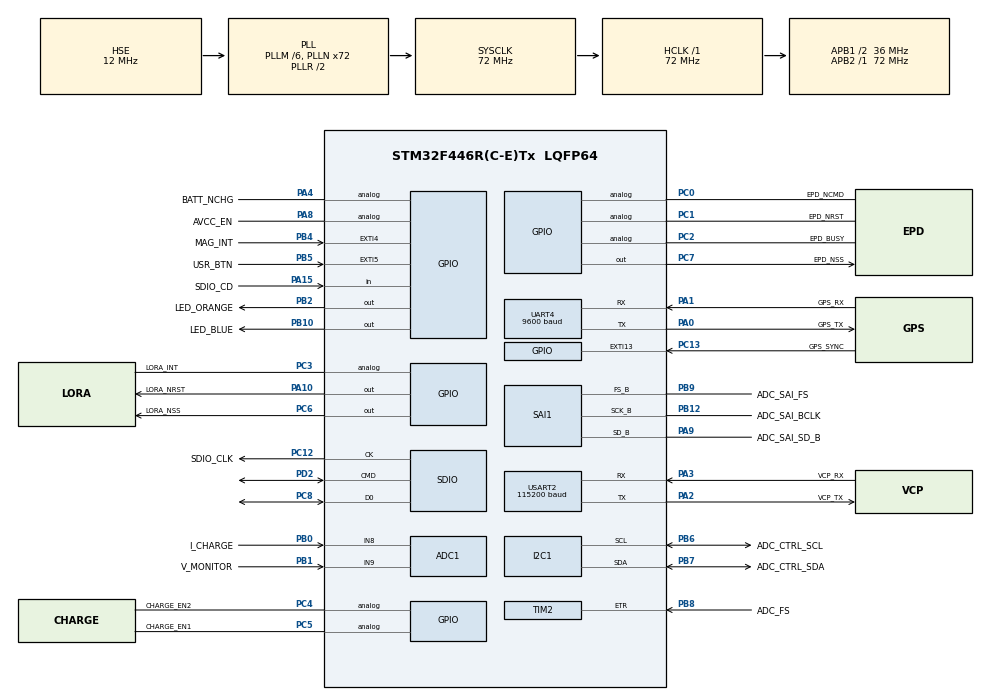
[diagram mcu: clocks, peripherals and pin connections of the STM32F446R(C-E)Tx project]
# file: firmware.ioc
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ADC1.Channel-0\#ChannelRegularConversion=ADC_CHANNEL_9
ADC1.ClockPrescaler=ADC_CLOCK_SYNC_PCLK_DIV8
ADC1.ContinuousConvMode=DISABLE
ADC1.EnableAnalogWatchDog=true
ADC1.HighThreshold=2700
ADC1.ITMode=ENABLE
ADC1.LowThreshold=2300
ADC1.NbrOfConversion=1
ADC1.NbrOfConversionFlag=1
ADC1.Rank-0\#ChannelRegularConversion=1
ADC1.SamplingTime-0\#ChannelRegularConversion=ADC_SAMPLETIME_480CYCLES
ADC1.ScanConvMode=DISABLE
ADC1.WatchdogChannel=ADC_CHANNEL_9
ADC1.master=1
Dma.Request0=USART2_RX
Dma.Request1=UART4_RX
Dma.Request2=SAI1_B
Dma.SAI1_B.2.Direction=DMA_PERIPH_TO_MEMORY
Dma.SAI1_B.2.FIFOMode=DMA_FIFOMODE_ENABLE
Dma.SAI1_B.2.FIFOThreshold=DMA_FIFO_THRESHOLD_HALFFULL
Dma.SAI1_B.2.Instance=DMA2_Stream4
Dma.SAI1_B.2.MemBurst=DMA_MBURST_SINGLE
Dma.SAI1_B.2.MemDataAlignment=DMA_MDATAALIGN_WORD
Dma.SAI1_B.2.MemInc=DMA_MINC_ENABLE
Dma.SAI1_B.2.Mode=DMA_CIRCULAR
Dma.SAI1_B.2.PeriphBurst=DMA_PBURST_SINGLE
Dma.SAI1_B.2.PeriphDataAlignment=DMA_PDATAALIGN_WORD
Dma.SAI1_B.2.PeriphInc=DMA_PINC_DISABLE
Dma.SAI1_B.2.Priority=DMA_PRIORITY_VERY_HIGH
Dma.UART4_RX.1.Direction=DMA_PERIPH_TO_MEMORY
Dma.UART4_RX.1.FIFOMode=DMA_FIFOMODE_DISABLE
Dma.UART4_RX.1.Instance=DMA1_Stream2
Dma.UART4_RX.1.MemDataAlignment=DMA_MDATAALIGN_BYTE
Dma.UART4_RX.1.MemInc=DMA_MINC_ENABLE
Dma.UART4_RX.1.Mode=DMA_CIRCULAR
Dma.UART4_RX.1.PeriphDataAlignment=DMA_PDATAALIGN_BYTE
Dma.UART4_RX.1.PeriphInc=DMA_PINC_DISABLE
Dma.UART4_RX.1.Priority=DMA_PRIORITY_HIGH
Dma.USART2_RX.0.Direction=DMA_PERIPH_TO_MEMORY
Dma.USART2_RX.0.FIFOMode=DMA_FIFOMODE_DISABLE
Dma.USART2_RX.0.Instance=DMA1_Stream5
Dma.USART2_RX.0.MemDataAlignment=DMA_MDATAALIGN_BYTE
Dma.USART2_RX.0.MemInc=DMA_MINC_ENABLE
Dma.USART2_RX.0.Mode=DMA_CIRCULAR
Dma.USART2_RX.0.PeriphDataAlignment=DMA_PDATAALIGN_BYTE
Dma.USART2_RX.0.PeriphInc=DMA_PINC_DISABLE
Dma.USART2_RX.0.Priority=DMA_PRIORITY_LOW
FATFS.BSP.number=1
FATFS.USE_DMA_CODE_SD=0
FATFS._FS_LOCK=4
FATFS._FS_RPATH=1
FATFS._FS_TIMEOUT=80
FATFS._MAX_SS=512
FATFS._USE_EXPAND=1
FATFS._USE_MKFS=0
FATFS._USE_TRIM=1
FATFS0.BSP.STBoard=false
FATFS0.BSP.api=Unknown
FATFS0.BSP.instance=PA15
FATFS0.BSP.ip=GPIO
FATFS0.BSP.mode=Input
FATFS0.BSP.name=Detect_SDIO
FATFS0.BSP.solution=PA15
IWDG.Prescaler=IWDG_PRESCALER_256
IWDG.Reload=4095
Mcu.Family=STM32F4
Mcu.Name=STM32F446R(C-E)Tx
Mcu.Package=LQFP64
NVIC.ADC_IRQn=true\:3\:3\:true\:false\:true\:true\:true\:true
NVIC.DMA1_Stream2_IRQn=true\:1\:3\:true\:false\:true\:false\:true\:true
NVIC.DMA1_Stream5_IRQn=true\:3\:1\:true\:false\:true\:false\:true\:true
NVIC.DMA2_Stream4_IRQn=true\:0\:2\:false\:false\:true\:false\:true\:true
NVIC.EXTI15_10_IRQn=true\:0\:1\:false\:false\:true\:true\:true\:true
NVIC.PriorityGroup=NVIC_PRIORITYGROUP_2
NVIC.SAI1_IRQn=true\:0\:2\:false\:false\:true\:true\:true\:true
NVIC.SDIO_IRQn=true\:1\:0\:true\:false\:true\:true\:true\:true
NVIC.TIM1_UP_TIM10_IRQn=true\:3\:2\:true\:false\:true\:true\:true\:true
PA0-WKUP.GPIO_Label=GPS_TX
PA0-WKUP.Mode=Asynchronous
PA0-WKUP.Signal=UART4_TX
PA1.GPIO_Label=GPS_RX
PA1.Mode=Asynchronous
PA1.Signal=UART4_RX
PA10.GPIO_Label=LORA_NRST
PA10.Signal=GPIO_Output
PA11.GPIO_Label=USB_DN
PA11.Signal=USB_OTG_FS_DM
PA12.GPIO_Label=USB_DP
PA12.Signal=USB_OTG_FS_DP
PA13.GPIO_Label=SWDIO
PA13.Mode=Trace_Asynchronous_SW
PA13.Signal=SYS_JTMS-SWDIO
PA14.GPIO_Label=SWCLK
PA14.Mode=Trace_Asynchronous_SW
PA14.Signal=SYS_JTCK-SWCLK
PA15.GPIO_Label=SDIO_CD
PA15.Signal=GPIO_Input
PA2.GPIO_Label=VCP_TX
PA2.Mode=Asynchronous
PA2.Signal=USART2_TX
PA3.GPIO_Label=VCP_RX
PA3.Mode=Asynchronous
PA3.Signal=USART2_RX
PA4.GPIO_Label=BATT_NCHG
PA4.Signal=GPIO_Analog
PA5.GPIO_Label=SRAM_SCK
PA5.Signal=SPI1_SCK
PA6.GPIO_Label=SRAM_MISO
PA6.Signal=SPI1_MISO
PA7.GPIO_Label=SRAM_MOSI
PA7.Signal=SPI1_MOSI
PA8.GPIO_Label=AVCC_EN
PA8.Signal=GPIO_Analog
PA9.GPIO_Label=ADC_SAI_SD_B
PA9.GPIO_PuPd=GPIO_PULLDOWN
PA9.Mode=SAI_B_AsyncSlave
PA9.Signal=SAI1_SD_B
PB0.GPIO_Label=I_CHARGE
PB0.Signal=ADCx_IN8
PB1.GPIO_Label=V_MONITOR
PB1.Signal=ADCx_IN9
PB10.GPIO_Label=LED_BLUE
PB10.GPIO_ModeDefaultOutputPP=GPIO_MODE_OUTPUT_OD
PB10.GPIO_PuPd=GPIO_PULLUP
PB10.PinState=GPIO_PIN_RESET
PB10.Signal=GPIO_Output
PB12.GPIO_Label=ADC_SAI_BCLK
PB12.GPIO_PuPd=GPIO_PULLDOWN
PB12.Mode=SAI_B_AsyncSlave
PB12.Signal=SAI1_SCK_B
PB13.GPIO_Label=CONN_SCK
PB13.Signal=SPI2_SCK
PB14.GPIO_Label=CONN_MISO
PB14.Signal=SPI2_MISO
PB15.GPIO_Label=CONN_MOSI
PB15.Signal=SPI2_MOSI
PB2.GPIO_Label=LED_ORANGE
PB2.GPIO_ModeDefaultOutputPP=GPIO_MODE_OUTPUT_OD
PB2.GPIO_PuPd=GPIO_PULLUP
PB2.PinState=GPIO_PIN_RESET
PB2.Signal=GPIO_Output
PB3.GPIO_Label=SWO
PB3.Mode=Trace_Asynchronous_SW
PB3.Signal=SYS_JTDO-SWO
PB4.GPIO_Label=MAG_INT
PB4.Signal=GPXTI4
PB5.GPIO_Label=USR_BTN
PB5.GPIO_PuPd=GPIO_PULLDOWN
PB5.Signal=GPXTI5
PB6.GPIO_Label=ADC_CTRL_SCL
PB6.GPIO_Pu=GPIO_PULLUP
PB6.GPIO_Speed=GPIO_SPEED_FREQ_HIGH
PB6.Mode=I2C
PB6.Signal=I2C1_SCL
PB7.GPIO_Label=ADC_CTRL_SDA
PB7.GPIO_Pu=GPIO_PULLUP
PB7.GPIO_Speed=GPIO_SPEED_FREQ_HIGH
PB7.Mode=I2C
PB7.Signal=I2C1_SDA
PB8.GPIO_Label=ADC_FS
PB8.Signal=S_TIM2_CH1_ETR
PB9.GPIO_Label=ADC_SAI_FS
PB9.GPIO_PuPd=GPIO_PULLDOWN
PB9.Mode=SAI_B_AsyncSlave
PB9.Signal=SAI1_FS_B
PC0.GPIO_Label=EPD_NCMD
PC0.Signal=GPIO_Analog
PC1.GPIO_Label=EPD_NRST
PC1.Signal=GPIO_Analog
PC10.GPIO_PuPd=GPIO_PULLUP
PC10.Signal=SDIO_D2
PC11.GPIO_PuPd=GPIO_PULLUP
PC11.Signal=SDIO_D3
PC12.GPIO_Label=SDIO_CLK
PC12.GPIO_PuPd=GPIO_NOPULL
PC12.Mode=SD_1_bit
PC12.Signal=SDIO_CK
PC13.GPIO_Label=GPS_SYNC
PC13.GPIO_ModeDefaultEXTI=GPIO_MODE_IT_RISING_FALLING
PC13.GPIO_PuPd=GPIO_PULLDOWN
PC13.Signal=GPXTI13
PC14-OSC32_IN.GPIO_Label=OSC_LSE_IN
PC14-OSC32_IN.Mode=LSE-External-Oscillator
PC14-OSC32_IN.Signal=RCC_OSC32_IN
PC15-OSC32_OUT.GPIO_Label=OSC_LSE_OUT
PC15-OSC32_OUT.Mode=LSE-External-Oscillator
PC15-OSC32_OUT.Signal=RCC_OSC32_OUT
PC2.GPIO_Label=EPD_BUSY
PC2.Signal=GPIO_Analog
PC3.GPIO_Label=LORA_INT
PC3.Signal=GPIO_Analog
PC4.GPIO_Label=CHARGE_EN2
PC4.Signal=GPIO_Analog
PC5.GPIO_Label=CHARGE_EN1
PC5.Signal=GPIO_Analog
PC6.GPIO_Label=LORA_NSS
PC6.GPIO_PuPd=GPIO_PULLDOWN
PC6.Signal=GPIO_Output
PC7.GPIO_Label=EPD_NSS
PC7.GPIO_PuPd=GPIO_PULLDOWN
PC7.Signal=GPIO_Output
PC8.GPIO_PuPd=GPIO_PULLUP
PC8.Mode=SD_1_bit
PC8.Signal=SDIO_D0
PC9.GPIO_PuPd=GPIO_PULLUP
PC9.Signal=SDIO_D1
PD2.GPIO_PuPd=GPIO_PULLUP
PD2.Mode=SD_1_bit
PD2.Signal=SDIO_CMD
PH0-OSC_IN.GPIO_Label=OSC_HSE_IN
PH0-OSC_IN.Mode=HSE-External-Oscillator
PH0-OSC_IN.Signal=RCC_OSC_IN
PH1-OSC_OUT.GPIO_Label=OSC_HSE_OUT
PH1-OSC_OUT.Mode=HSE-External-Oscillator
PH1-OSC_OUT.Signal=RCC_OSC_OUT
ProjectManager.HeapSize=0x11000
ProjectManager.StackSize=0x8000
ProjectManager.TargetToolchain=STM32CubeIDE
RCC.AHBFreq_Value=72000000
RCC.APB1CLKDivider=RCC_HCLK_DIV2
RCC.APB1Freq_Value=36000000
RCC.APB1TimFreq_Value=72000000
RCC.APB2Freq_Value=72000000
RCC.APB2TimFreq_Value=72000000
RCC.CortexFreq_Value=72000000
RCC.HCLKFreq_Value=72000000
RCC.HSE_VALUE=12000000
RCC.PLLI2SM=8
RCC.PLLI2SN=50
RCC.PLLM=6
RCC.PLLN=72
RCC.PLLP=RCC_PLLP_DIV6
RCC.PLLQ=3
RCC.PLLSAIM=6
RCC.PLLSAIN=50
RCC.PLLSourceVirtual=RCC_PLLSOURCE_HSE
RCC.PWREXT_OverDrive=PWREXT_OverDrive_ACTIVATED
RCC.RCC_RTC_Clock_SourceVirtual=RCC_RTCCLKSOURCE_LSE
RCC.SYSCLKFreq_VALUE=72000000
RCC.SYSCLKSource=RCC_SYSCLKSOURCE_PLLRCLK
RCC.USBFreq_Value=48000000
RCC.VCOOutputFreq_Value=144000000
SAI1.DataSize-SAI_B_AsyncSlave=SAI_DATASIZE_24
SAI1.FIFOThreshold-SAI_B_AsyncSlave=SAI_FIFOTHRESHOLD_HF
SAI1.FirstBit-SAI_B_AsyncSlave=SAI_FIRSTBIT_MSB
SAI1.FirstBitOffset-SAI_B_AsyncSlave=0
SAI1.FrameLength-SAI_B_AsyncSlave=128
SAI1.Instance-SAI_B_AsyncSlave=SAI$Index_Block_B
SAI1.SlotActive-SAI_B_AsyncSlave=0x00000003
SAI1.SlotNumber-SAI_B_AsyncSlave=4
SAI1.SlotSize-SAI_B_AsyncSlave=SAI_SLOTSIZE_32B
SAI1.TriState-SAI_B_AsyncSlave=SAI_OUTPUT_NOTRELEASED
SAI1.VirtualMode-SAI_B_AsyncSlave=VM_SLAVE
SAI1.VirtualSlotActive-SAI_B_AsyncSlave=SAI_SLOT_USERSETTING
SAI1.VirtualSlotActive0-SAI_B_AsyncSlave=true
SAI1.VirtualSlotActive1-SAI_B_AsyncSlave=true
SAI1.VirtualSlotActive2-SAI_B_AsyncSlave=false
SAI1.VirtualSlotActive3-SAI_B_AsyncSlave=false
SDIO.ClockBypass=SDIO_CLOCK_BYPASS_DISABLE
SDIO.ClockDiv=6
SDIO.ClockPowerSave=SDIO_CLOCK_POWER_SAVE_ENABLE
SDIO.HardwareFlowControl=SDIO_HARDWARE_FLOW_CONTROL_ENABLE
SH.ADCx_IN8.0=ADC1_IN8,IN8
SH.ADCx_IN9.0=ADC1_IN9,IN9
SH.S_TIM2_CH1_ETR.0=TIM2_ETR,ClockSourceETR_Mode2
TIM10.ClockDivision=TIM_CLOCKDIVISION_DIV4
TIM10.Period=39999
TIM10.Prescaler=35999
TIM3.AutoReloadPreload=TIM_AUTORELOAD_PRELOAD_DISABLE
TIM3.ClockDivision=TIM_CLOCKDIVISION_DIV4
TIM3.Period=1000
TIM3.Prescaler=18000
TIM3.TIM_MasterOutputTrigger=TIM_TRGO_RESET
UART4.BaudRate=9600
UART4.VirtualMode=Asynchronous
USART2.BaudRate=115200
USART2.VirtualMode=VM_ASYNC
VP_CRC_VS_CRC.Mode=CRC_Activate
VP_FATFS_VS_SDIO.Mode=SDIO
VP_IWDG_VS_IWDG.Mode=IWDG_Activate
VP_RTC_VS_RTC_Activate.Mode=RTC_Enabled
VP_RTC_VS_RTC_Calendar.Mode=RTC_Calendar
VP_TIM10_VS_ClockSourceINT.Mode=Enable_Timer
VP_TIM3_VS_ClockSourceINT.Mode=Internal
board=custom

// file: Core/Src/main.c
/* USER CODE BEGIN Header */
/**
  ******************************************************************************
  * @file           : main.c
  * @brief          : Main program body
  ******************************************************************************
  * @attention
  *
  * <h2><center>&copy; Copyright (c) 2020 STMicroelectronics.
  * All rights reserved.</center></h2>
  *
  * This software component is licensed by ST under BSD 3-Clause license,
  * the "License"; You may not use this file except in compliance with the
  * License. You may obtain a copy of the License at:
  *                        opensource.org/licenses/BSD-3-Clause
  *
  ******************************************************************************
  */
/* USER CODE END Header */
#include "main.h"
#include "fatfs.h"

/* USER CODE BEGIN Includes */
#include "config.h"
#include "tty.h"
#include "logger.h"
#include "gps.h"
#include "adc.h"
#include "timestamp.h"
#include "perf.h"
#include "led.h"
/* USER CODE END Includes */

/* USER CODE BEGIN PM */
#define WAIT(__base2_Hz__) ({for(uint32_t i = 0; i < (HAL_RCC_GetHCLKFreq() >> (__base2_Hz__)); i++) __NOP();})
/* USER CODE END PM */

ADC_HandleTypeDef hadc1;

CRC_HandleTypeDef hcrc;

I2C_HandleTypeDef hi2c1;

IWDG_HandleTypeDef hiwdg;

RTC_HandleTypeDef hrtc;

SAI_HandleTypeDef hsai_BlockB1;
DMA_HandleTypeDef hdma_sai1_b;

SD_HandleTypeDef hsd;

TIM_HandleTypeDef htim2;
TIM_HandleTypeDef htim3;
TIM_HandleTypeDef htim10;

UART_HandleTypeDef huart4;
UART_HandleTypeDef huart2;
DMA_HandleTypeDef hdma_uart4_rx;
DMA_HandleTypeDef hdma_usart2_rx;

/* USER CODE BEGIN PV */
uint32_t KLEINVOET_UUID = 0xDEADBEEFU;
int ready = 0;
// TODO: Just a quick fix
static int flushLog = 0;
static volatile uint32_t wavWriteHeaderFlag = 0;
static int adcSyncWrite = 0;
/* USER CODE END PV */

void SystemClock_Config(void);
static void MX_GPIO_Init(void);
static void MX_DMA_Init(void);
static void MX_USART2_UART_Init(void);
static void MX_CRC_Init(void);
static void MX_SDIO_SD_Init(void);
static void MX_RTC_Init(void);
static void MX_UART4_Init(void);
static void MX_IWDG_Init(void);
static void MX_TIM10_Init(void);
static void MX_I2C1_Init(void);
static void MX_SAI1_Init(void);
static void MX_TIM2_Init(void);
static void MX_ADC1_Init(void);
static void MX_TIM3_Init(void);

int main(void)
{

  /* MCU Configuration--------------------------------------------------------*/

  /* Reset of all peripherals, Initializes the Flash interface and the Systick. */
  HAL_Init();

  /* Configure the system clock */
  SystemClock_Config();

  /* Initialize all configured peripherals */
  MX_GPIO_Init();
  MX_DMA_Init();
  MX_USART2_UART_Init();
  MX_CRC_Init();
  MX_SDIO_SD_Init();
  MX_FATFS_Init();
  MX_RTC_Init();
  MX_UART4_Init();
  MX_IWDG_Init();
  MX_TIM10_Init();
  MX_I2C1_Init();
  MX_SAI1_Init();
  MX_TIM2_Init();
  MX_ADC1_Init();
  MX_TIM3_Init();
  /* USER CODE BEGIN 2 */
//  LED_ORANGE_START_BLINK();
  LED_ORANGE_SET_LOW();
  LED_BLUE_SET_LOW();
  // Give time for RTC to init properly
  HAL_RTC_WaitForSynchro(&hrtc);
  // Calculate UUID
  KLEINVOET_UUID = HAL_CRC_Calculate(&hcrc, STM32_UUID, 3);
  if (TTY_init(&huart2) <= 0) Error_Handler();
  if (FATFS_mount() <= 0) Error_Handler();

#ifdef DEBUG
  WARN("Running with DEBUG flag enabled");
#endif
  // Test Logging
  // TODO: Rather log actual level
  // logging error causes SD card to flush this results in watchdog timeout
  HAL_IWDG_Refresh(&hiwdg);
  DBUG("Hello, World.");
  INFO("Hello, World!");
  WARN("HELLO, World!");
  ERR("HELLO, WORLD!");
  LED_ORANGE_TOGGLE();

  // TODO: move to global state machine class once it exists
  INFO("VERSION: " KV_VERSION);
  INFO("AUTHORS: " AUTHORS);
  INFO("UUID: 0x%08lX (%08lX-%08lX-%08lX)", KLEINVOET_UUID, STM32_UUID[0], STM32_UUID[1], STM32_UUID[2]);
  INFO("Core Freq: %luHz", HAL_RCC_GetHCLKFreq());

  INFO("Waiting for GPS to finish starting up..");
  HAL_Delay(1500);
  LED_ORANGE_TOGGLE();
  INFO("Done waiting for GPS");
  HAL_IWDG_Refresh(&hiwdg);
  if (GPS_init(&huart4) <= 0) Error_Handler();
  if (ADC_init(&hi2c1, &hsai_BlockB1, &htim2) <= 0) Error_Handler();
  if (TIME_init(&htim2) <= 0) Error_Handler();

  // Change watch dog timeout from ~32 sec to ~4
  hiwdg.Init.Prescaler = IWDG_PRESCALER_32;
  if (HAL_IWDG_Init(&hiwdg) != HAL_OK) Error_Handler();

  // Enable FS flush timer
  HAL_TIM_Base_Start_IT(&htim10);
  ready = 1;
  /* USER CODE END 2 */

  /* Infinite loop */
  /* USER CODE BEGIN WHILE */
  if(ADC_setState(ADC_REC) <= 0) Error_Handler();
  HAL_ADC_Start(&hadc1);

  // Store logs
  LOG_flush();
  wavWriteHeaderFlag = 0;
//  LED_ORANGE_STOP_BLINK();
#pragma clang diagnostic push
#pragma ide diagnostic ignored "EndlessLoop"
  while (1) {
    // Kick watchdog
    HAL_IWDG_Refresh(&hiwdg);
    PERF_START("ADC_yield");
    PERF_THRESHOLD(100);
    ADC_yield(&adcSyncWrite);
    PERF_END("ADC_yield");
    TTY_yield();
    GPS_yield();
    TIME_yield();

    if(flushLog) {
      LOG_flush();
      flushLog = 0;
    }

#ifndef WAVE_MOCK_WRITES
    if(wavWriteHeaderFlag) {
      ADC_WAVE_writeHeader();
      wavWriteHeaderFlag = 0;
    }
#endif

    /* USER CODE END WHILE */

    /* USER CODE BEGIN 3 */
  }
#pragma clang diagnostic pop
  /* USER CODE END 3 */
}

void SystemClock_Config(void)
{
  RCC_OscInitTypeDef RCC_OscInitStruct = {0};
  RCC_ClkInitTypeDef RCC_ClkInitStruct = {0};

  /** Configure the main internal regulator output voltage
  */
  __HAL_RCC_PWR_CLK_ENABLE();
  __HAL_PWR_VOLTAGESCALING_CONFIG(PWR_REGULATOR_VOLTAGE_SCALE3);

  /** Initializes the RCC Oscillators according to the specified parameters
  * in the RCC_OscInitTypeDef structure.
  */
  RCC_OscInitStruct.OscillatorType = RCC_OSCILLATORTYPE_LSI|RCC_OSCILLATORTYPE_HSE
                              |RCC_OSCILLATORTYPE_LSE;
  RCC_OscInitStruct.HSEState = RCC_HSE_ON;
  RCC_OscInitStruct.LSEState = RCC_LSE_ON;
  RCC_OscInitStruct.LSIState = RCC_LSI_ON;
  RCC_OscInitStruct.PLL.PLLState = RCC_PLL_ON;
  RCC_OscInitStruct.PLL.PLLSource = RCC_PLLSOURCE_HSE;
  RCC_OscInitStruct.PLL.PLLM = 6;
  RCC_OscInitStruct.PLL.PLLN = 72;
  RCC_OscInitStruct.PLL.PLLP = RCC_PLLP_DIV6;
  RCC_OscInitStruct.PLL.PLLQ = 3;
  RCC_OscInitStruct.PLL.PLLR = 2;
  if (HAL_RCC_OscConfig(&RCC_OscInitStruct) != HAL_OK)
  {
    Error_Handler();
  }

  /** Activate the Over-Drive mode
  */
  if (HAL_PWREx_EnableOverDrive() != HAL_OK)
  {
    Error_Handler();
  }

  /** Initializes the CPU, AHB and APB buses clocks
  */
  RCC_ClkInitStruct.ClockType = RCC_CLOCKTYPE_HCLK|RCC_CLOCKTYPE_SYSCLK
                              |RCC_CLOCKTYPE_PCLK1|RCC_CLOCKTYPE_PCLK2;
  RCC_ClkInitStruct.SYSCLKSource = RCC_SYSCLKSOURCE_PLLRCLK;
  RCC_ClkInitStruct.AHBCLKDivider = RCC_SYSCLK_DIV1;
  RCC_ClkInitStruct.APB1CLKDivider = RCC_HCLK_DIV2;
  RCC_ClkInitStruct.APB2CLKDivider = RCC_HCLK_DIV1;

  if (HAL_RCC_ClockConfig(&RCC_ClkInitStruct, FLASH_LATENCY_2) != HAL_OK)
  {
    Error_Handler();
  }
}

static void MX_ADC1_Init(void)
{

  ADC_AnalogWDGConfTypeDef AnalogWDGConfig = {0};
  ADC_ChannelConfTypeDef sConfig = {0};

  /** Configure the global features of the ADC (Clock, Resolution, Data Alignment and number of conversion)
  */
  hadc1.Instance = ADC1;
  hadc1.Init.ClockPrescaler = ADC_CLOCK_SYNC_PCLK_DIV8;
  hadc1.Init.Resolution = ADC_RESOLUTION_12B;
  hadc1.Init.ScanConvMode = DISABLE;
  hadc1.Init.ContinuousConvMode = DISABLE;
  hadc1.Init.DiscontinuousConvMode = DISABLE;
  hadc1.Init.ExternalTrigConvEdge = ADC_EXTERNALTRIGCONVEDGE_NONE;
  hadc1.Init.ExternalTrigConv = ADC_SOFTWARE_START;
  hadc1.Init.DataAlign = ADC_DATAALIGN_RIGHT;
  hadc1.Init.NbrOfConversion = 1;
  hadc1.Init.DMAContinuousRequests = DISABLE;
  hadc1.Init.EOCSelection = ADC_EOC_SINGLE_CONV;
  if (HAL_ADC_Init(&hadc1) != HAL_OK)
  {
    Error_Handler();
  }

  /** Configure the analog watchdog
  */
  AnalogWDGConfig.WatchdogMode = ADC_ANALOGWATCHDOG_SINGLE_REG;
  AnalogWDGConfig.HighThreshold = 2700;
  AnalogWDGConfig.LowThreshold = 2300;
  AnalogWDGConfig.Channel = ADC_CHANNEL_9;
  AnalogWDGConfig.ITMode = ENABLE;
  if (HAL_ADC_AnalogWDGConfig(&hadc1, &AnalogWDGConfig) != HAL_OK)
  {
    Error_Handler();
  }

  /** Configure for the selected ADC regular channel its corresponding rank in the sequencer and its sample time.
  */
  sConfig.Channel = ADC_CHANNEL_9;
  sConfig.Rank = 1;
  sConfig.SamplingTime = ADC_SAMPLETIME_480CYCLES;
  if (HAL_ADC_ConfigChannel(&hadc1, &sConfig) != HAL_OK)
  {
    Error_Handler();
  }

}

static void MX_CRC_Init(void)
{

  hcrc.Instance = CRC;
  if (HAL_CRC_Init(&hcrc) != HAL_OK)
  {
    Error_Handler();
  }

}

static void MX_I2C1_Init(void)
{

  hi2c1.Instance = I2C1;
  hi2c1.Init.ClockSpeed = 100000;
  hi2c1.Init.DutyCycle = I2C_DUTYCYCLE_2;
  hi2c1.Init.OwnAddress1 = 0;
  hi2c1.Init.AddressingMode = I2C_ADDRESSINGMODE_7BIT;
  hi2c1.Init.DualAddressMode = I2C_DUALADDRESS_DISABLE;
  hi2c1.Init.OwnAddress2 = 0;
  hi2c1.Init.GeneralCallMode = I2C_GENERALCALL_DISABLE;
  hi2c1.Init.NoStretchMode = I2C_NOSTRETCH_DISABLE;
  if (HAL_I2C_Init(&hi2c1) != HAL_OK)
  {
    Error_Handler();
  }

}

static void MX_IWDG_Init(void)
{

  hiwdg.Instance = IWDG;
  hiwdg.Init.Prescaler = IWDG_PRESCALER_256;
  hiwdg.Init.Reload = 4095;
  if (HAL_IWDG_Init(&hiwdg) != HAL_OK)
  {
    Error_Handler();
  }

}

static void MX_RTC_Init(void)
{

  RTC_TimeTypeDef sTime = {0};
  RTC_DateTypeDef sDate = {0};

  /** Initialize RTC Only
  */
  hrtc.Instance = RTC;
  hrtc.Init.HourFormat = RTC_HOURFORMAT_24;
  hrtc.Init.AsynchPrediv = 127;
  hrtc.Init.SynchPrediv = 255;
  hrtc.Init.OutPut = RTC_OUTPUT_DISABLE;
  hrtc.Init.OutPutPolarity = RTC_OUTPUT_POLARITY_HIGH;
  hrtc.Init.OutPutType = RTC_OUTPUT_TYPE_OPENDRAIN;
  if (HAL_RTC_Init(&hrtc) != HAL_OK)
  {
    Error_Handler();
  }

  /** Initialize RTC and set the Time and Date
  */
  sTime.Hours = 0x0;
  sTime.Minutes = 0x0;
  sTime.Seconds = 0x0;
  sTime.DayLightSaving = RTC_DAYLIGHTSAVING_NONE;
  sTime.StoreOperation = RTC_STOREOPERATION_RESET;
  if (HAL_RTC_SetTime(&hrtc, &sTime, RTC_FORMAT_BCD) != HAL_OK)
  {
    Error_Handler();
  }
  sDate.WeekDay = RTC_WEEKDAY_MONDAY;
  sDate.Month = RTC_MONTH_JANUARY;
  sDate.Date = 0x1;
  sDate.Year = 0x0;

  if (HAL_RTC_SetDate(&hrtc, &sDate, RTC_FORMAT_BCD) != HAL_OK)
  {
    Error_Handler();
  }

}

static void MX_SAI1_Init(void)
{

  hsai_BlockB1.Instance = SAI1_Block_B;
  hsai_BlockB1.Init.Protocol = SAI_FREE_PROTOCOL;
  hsai_BlockB1.Init.AudioMode = SAI_MODESLAVE_RX;
  hsai_BlockB1.Init.DataSize = SAI_DATASIZE_24;
  hsai_BlockB1.Init.FirstBit = SAI_FIRSTBIT_MSB;
  hsai_BlockB1.Init.ClockStrobing = SAI_CLOCKSTROBING_FALLINGEDGE;
  hsai_BlockB1.Init.Synchro = SAI_ASYNCHRONOUS;
  hsai_BlockB1.Init.OutputDrive = SAI_OUTPUTDRIVE_DISABLE;
  hsai_BlockB1.Init.FIFOThreshold = SAI_FIFOTHRESHOLD_HF;
  hsai_BlockB1.Init.SynchroExt = SAI_SYNCEXT_DISABLE;
  hsai_BlockB1.Init.MonoStereoMode = SAI_STEREOMODE;
  hsai_BlockB1.Init.CompandingMode = SAI_NOCOMPANDING;
  hsai_BlockB1.Init.TriState = SAI_OUTPUT_NOTRELEASED;
  hsai_BlockB1.FrameInit.FrameLength = 128;
  hsai_BlockB1.FrameInit.ActiveFrameLength = 1;
  hsai_BlockB1.FrameInit.FSDefinition = SAI_FS_STARTFRAME;
  hsai_BlockB1.FrameInit.FSPolarity = SAI_FS_ACTIVE_LOW;
  hsai_BlockB1.FrameInit.FSOffset = SAI_FS_FIRSTBIT;
  hsai_BlockB1.SlotInit.FirstBitOffset = 0;
  hsai_BlockB1.SlotInit.SlotSize = SAI_SLOTSIZE_32B;
  hsai_BlockB1.SlotInit.SlotNumber = 4;
  hsai_BlockB1.SlotInit.SlotActive = 0x00000003;
  if (HAL_SAI_Init(&hsai_BlockB1) != HAL_OK)
  {
    Error_Handler();
  }

}

static void MX_SDIO_SD_Init(void)
{

  hsd.Instance = SDIO;
  hsd.Init.ClockEdge = SDIO_CLOCK_EDGE_RISING;
  hsd.Init.ClockBypass = SDIO_CLOCK_BYPASS_DISABLE;
  hsd.Init.ClockPowerSave = SDIO_CLOCK_POWER_SAVE_ENABLE;
  hsd.Init.BusWide = SDIO_BUS_WIDE_1B;
  hsd.Init.HardwareFlowControl = SDIO_HARDWARE_FLOW_CONTROL_ENABLE;
  hsd.Init.ClockDiv = 6;

}

static void MX_TIM2_Init(void)
{

  TIM_ClockConfigTypeDef sClockSourceConfig = {0};
  TIM_MasterConfigTypeDef sMasterConfig = {0};

  htim2.Instance = TIM2;
  htim2.Init.Prescaler = 0;
  htim2.Init.CounterMode = TIM_COUNTERMODE_UP;
  htim2.Init.Period = 4294967295;
  htim2.Init.ClockDivision = TIM_CLOCKDIVISION_DIV1;
  htim2.Init.AutoReloadPreload = TIM_AUTORELOAD_PRELOAD_DISABLE;
  if (HAL_TIM_Base_Init(&htim2) != HAL_OK)
  {
    Error_Handler();
  }
  sClockSourceConfig.ClockSource = TIM_CLOCKSOURCE_ETRMODE2;
  sClockSourceConfig.ClockPolarity = TIM_CLOCKPOLARITY_NONINVERTED;
  sClockSourceConfig.ClockPrescaler = TIM_CLOCKPRESCALER_DIV1;
  sClockSourceConfig.ClockFilter = 0;
  if (HAL_TIM_ConfigClockSource(&htim2, &sClockSourceConfig) != HAL_OK)
  {
    Error_Handler();
  }
  sMasterConfig.MasterOutputTrigger = TIM_TRGO_RESET;
  sMasterConfig.MasterSlaveMode = TIM_MASTERSLAVEMODE_DISABLE;
  if (HAL_TIMEx_MasterConfigSynchronization(&htim2, &sMasterConfig) != HAL_OK)
  {
    Error_Handler();
  }

}

static void MX_TIM3_Init(void)
{

  TIM_ClockConfigTypeDef sClockSourceConfig = {0};
  TIM_MasterConfigTypeDef sMasterConfig = {0};

  htim3.Instance = TIM3;
  htim3.Init.Prescaler = 18000;
  htim3.Init.CounterMode = TIM_COUNTERMODE_UP;
  htim3.Init.Period = 1000;
  htim3.Init.ClockDivision = TIM_CLOCKDIVISION_DIV4;
  htim3.Init.AutoReloadPreload = TIM_AUTORELOAD_PRELOAD_DISABLE;
  if (HAL_TIM_Base_Init(&htim3) != HAL_OK)
  {
    Error_Handler();
  }
  sClockSourceConfig.ClockSource = TIM_CLOCKSOURCE_INTERNAL;
  if (HAL_TIM_ConfigClockSource(&htim3, &sClockSourceConfig) != HAL_OK)
  {
    Error_Handler();
  }
  sMasterConfig.MasterOutputTrigger = TIM_TRGO_RESET;
  sMasterConfig.MasterSlaveMode = TIM_MASTERSLAVEMODE_DISABLE;
  if (HAL_TIMEx_MasterConfigSynchronization(&htim3, &sMasterConfig) != HAL_OK)
  {
    Error_Handler();
  }

}

static void MX_TIM10_Init(void)
{

  htim10.Instance = TIM10;
  htim10.Init.Prescaler = 35999;
  htim10.Init.CounterMode = TIM_COUNTERMODE_UP;
  htim10.Init.Period = 39999;
  htim10.Init.ClockDivision = TIM_CLOCKDIVISION_DIV4;
  htim10.Init.AutoReloadPreload = TIM_AUTORELOAD_PRELOAD_DISABLE;
  if (HAL_TIM_Base_Init(&htim10) != HAL_OK)
  {
    Error_Handler();
  }

}

static void MX_UART4_Init(void)
{

  huart4.Instance = UART4;
  huart4.Init.BaudRate = 9600;
  huart4.Init.WordLength = UART_WORDLENGTH_8B;
  huart4.Init.StopBits = UART_STOPBITS_1;
  huart4.Init.Parity = UART_PARITY_NONE;
  huart4.Init.Mode = UART_MODE_TX_RX;
  huart4.Init.HwFlowCtl = UART_HWCONTROL_NONE;
  huart4.Init.OverSampling = UART_OVERSAMPLING_16;
  if (HAL_UART_Init(&huart4) != HAL_OK)
  {
    Error_Handler();
  }

}

static void MX_USART2_UART_Init(void)
{

  huart2.Instance = USART2;
  huart2.Init.BaudRate = 115200;
  huart2.Init.WordLength = UART_WORDLENGTH_8B;
  huart2.Init.StopBits = UART_STOPBITS_1;
  huart2.Init.Parity = UART_PARITY_NONE;
  huart2.Init.Mode = UART_MODE_TX_RX;
  huart2.Init.HwFlowCtl = UART_HWCONTROL_NONE;
  huart2.Init.OverSampling = UART_OVERSAMPLING_16;
  if (HAL_UART_Init(&huart2) != HAL_OK)
  {
    Error_Handler();
  }

}

static void MX_DMA_Init(void)
{

  /* DMA controller clock enable */
  __HAL_RCC_DMA1_CLK_ENABLE();
  __HAL_RCC_DMA2_CLK_ENABLE();

  /* DMA interrupt init */
  /* DMA1_Stream2_IRQn interrupt configuration */
  HAL_NVIC_SetPriority(DMA1_Stream2_IRQn, 1, 3);
  HAL_NVIC_EnableIRQ(DMA1_Stream2_IRQn);
  /* DMA1_Stream5_IRQn interrupt configuration */
  HAL_NVIC_SetPriority(DMA1_Stream5_IRQn, 3, 1);
  HAL_NVIC_EnableIRQ(DMA1_Stream5_IRQn);
  /* DMA2_Stream4_IRQn interrupt configuration */
  HAL_NVIC_SetPriority(DMA2_Stream4_IRQn, 0, 2);
  HAL_NVIC_EnableIRQ(DMA2_Stream4_IRQn);

}

static void MX_GPIO_Init(void)
{
  GPIO_InitTypeDef GPIO_InitStruct = {0};

  /* GPIO Ports Clock Enable */
  __HAL_RCC_GPIOC_CLK_ENABLE();
  __HAL_RCC_GPIOH_CLK_ENABLE();
  __HAL_RCC_GPIOA_CLK_ENABLE();
  __HAL_RCC_GPIOB_CLK_ENABLE();
  __HAL_RCC_GPIOD_CLK_ENABLE();

  /*Configure GPIO pin Output Level */
  HAL_GPIO_WritePin(GPIOB, LED_ORANGE_Pin|LED_BLUE_Pin, GPIO_PIN_RESET);

  /*Configure GPIO pin Output Level */
  HAL_GPIO_WritePin(GPIOC, LORA_NSS_Pin|EPD_NSS_Pin, GPIO_PIN_RESET);

  /*Configure GPIO pin Output Level */
  HAL_GPIO_WritePin(LORA_NRST_GPIO_Port, LORA_NRST_Pin, GPIO_PIN_RESET);

  /*Configure GPIO pin : GPS_SYNC_Pin */
  GPIO_InitStruct.Pin = GPS_SYNC_Pin;
  GPIO_InitStruct.Mode = GPIO_MODE_IT_RISING_FALLING;
  GPIO_InitStruct.Pull = GPIO_PULLDOWN;
  HAL_GPIO_Init(GPS_SYNC_GPIO_Port, &GPIO_InitStruct);

  /*Configure GPIO pins : EPD_NCMD_Pin EPD_NRST_Pin EPD_BUSY_Pin LORA_INT_Pin
                           CHARGE_EN2_Pin CHARGE_EN1_Pin */
  GPIO_InitStruct.Pin = EPD_NCMD_Pin|EPD_NRST_Pin|EPD_BUSY_Pin|LORA_INT_Pin
                          |CHARGE_EN2_Pin|CHARGE_EN1_Pin;
  GPIO_InitStruct.Mode = GPIO_MODE_ANALOG;
  GPIO_InitStruct.Pull = GPIO_NOPULL;
  HAL_GPIO_Init(GPIOC, &GPIO_InitStruct);

  /*Configure GPIO pins : BATT_NCHG_Pin AVCC_EN_Pin */
  GPIO_InitStruct.Pin = BATT_NCHG_Pin|AVCC_EN_Pin;
  GPIO_InitStruct.Mode = GPIO_MODE_ANALOG;
  GPIO_InitStruct.Pull = GPIO_NOPULL;
  HAL_GPIO_Init(GPIOA, &GPIO_InitStruct);

  /*Configure GPIO pins : SRAM_SCK_Pin SRAM_MISO_Pin SRAM_MOSI_Pin */
  GPIO_InitStruct.Pin = SRAM_SCK_Pin|SRAM_MISO_Pin|SRAM_MOSI_Pin;
  GPIO_InitStruct.Mode = GPIO_MODE_AF_PP;
  GPIO_InitStruct.Pull = GPIO_NOPULL;
  GPIO_InitStruct.Speed = GPIO_SPEED_FREQ_VERY_HIGH;
  GPIO_InitStruct.Alternate = GPIO_AF5_SPI1;
  HAL_GPIO_Init(GPIOA, &GPIO_InitStruct);

  /*Configure GPIO pins : LED_ORANGE_Pin LED_BLUE_Pin */
  GPIO_InitStruct.Pin = LED_ORANGE_Pin|LED_BLUE_Pin;
  GPIO_InitStruct.Mode = GPIO_MODE_OUTPUT_OD;
  GPIO_InitStruct.Pull = GPIO_PULLUP;
  GPIO_InitStruct.Speed = GPIO_SPEED_FREQ_LOW;
  HAL_GPIO_Init(GPIOB, &GPIO_InitStruct);

  /*Configure GPIO pins : CONN_SCK_Pin CONN_MISO_Pin CONN_MOSI_Pin */
  GPIO_InitStruct.Pin = CONN_SCK_Pin|CONN_MISO_Pin|CONN_MOSI_Pin;
  GPIO_InitStruct.Mode = GPIO_MODE_AF_PP;
  GPIO_InitStruct.Pull = GPIO_NOPULL;
  GPIO_InitStruct.Speed = GPIO_SPEED_FREQ_VERY_HIGH;
  GPIO_InitStruct.Alternate = GPIO_AF5_SPI2;
  HAL_GPIO_Init(GPIOB, &GPIO_InitStruct);

  /*Configure GPIO pins : LORA_NSS_Pin EPD_NSS_Pin */
  GPIO_InitStruct.Pin = LORA_NSS_Pin|EPD_NSS_Pin;
  GPIO_InitStruct.Mode = GPIO_MODE_OUTPUT_PP;
  GPIO_InitStruct.Pull = GPIO_PULLDOWN;
  GPIO_InitStruct.Speed = GPIO_SPEED_FREQ_LOW;
  HAL_GPIO_Init(GPIOC, &GPIO_InitStruct);

  /*Configure GPIO pin : LORA_NRST_Pin */
  GPIO_InitStruct.Pin = LORA_NRST_Pin;
  GPIO_InitStruct.Mode = GPIO_MODE_OUTPUT_PP;
  GPIO_InitStruct.Pull = GPIO_NOPULL;
  GPIO_InitStruct.Speed = GPIO_SPEED_FREQ_LOW;
  HAL_GPIO_Init(LORA_NRST_GPIO_Port, &GPIO_InitStruct);

  /*Configure GPIO pins : USB_DN_Pin USB_DP_Pin */
  GPIO_InitStruct.Pin = USB_DN_Pin|USB_DP_Pin;
  GPIO_InitStruct.Mode = GPIO_MODE_AF_PP;
  GPIO_InitStruct.Pull = GPIO_NOPULL;
  GPIO_InitStruct.Speed = GPIO_SPEED_FREQ_VERY_HIGH;
  GPIO_InitStruct.Alternate = GPIO_AF10_OTG_FS;
  HAL_GPIO_Init(GPIOA, &GPIO_InitStruct);

  /*Configure GPIO pin : SDIO_CD_Pin */
  GPIO_InitStruct.Pin = SDIO_CD_Pin;
  GPIO_InitStruct.Mode = GPIO_MODE_INPUT;
  GPIO_InitStruct.Pull = GPIO_NOPULL;
  HAL_GPIO_Init(SDIO_CD_GPIO_Port, &GPIO_InitStruct);

  /*Configure GPIO pin : MAG_INT_Pin */
  GPIO_InitStruct.Pin = MAG_INT_Pin;
  GPIO_InitStruct.Mode = GPIO_MODE_IT_RISING;
  GPIO_InitStruct.Pull = GPIO_NOPULL;
  HAL_GPIO_Init(MAG_INT_GPIO_Port, &GPIO_InitStruct);

  /*Configure GPIO pin : USR_BTN_Pin */
  GPIO_InitStruct.Pin = USR_BTN_Pin;
  GPIO_InitStruct.Mode = GPIO_MODE_IT_RISING;
  GPIO_InitStruct.Pull = GPIO_PULLDOWN;
  HAL_GPIO_Init(USR_BTN_GPIO_Port, &GPIO_InitStruct);

  /* EXTI interrupt init*/
  HAL_NVIC_SetPriority(EXTI15_10_IRQn, 0, 1);
  HAL_NVIC_EnableIRQ(EXTI15_10_IRQn);

}

/* USER CODE BEGIN 4 */
void HAL_GPIO_EXTI_Callback (uint16_t GPIO_Pin)
{
  switch (GPIO_Pin) {
    case USR_BTN_Pin:
#ifdef LOG_DEST_TTY
      INFO("User button pressed");
#endif
      TIME_flush(0);
      flushLog = 1;
      // TODO: In global state machine stop recording
      ADC_setState(ADC_STOP);
      return;

    case GPS_SYNC_Pin: {
      // TODO: Breakout and improve
      if(ready){
        const GPIO_PinState syncPinState = HAL_GPIO_ReadPin(GPS_SYNC_GPIO_Port, GPS_SYNC_Pin);
        DBUG("GPS sync pulse (%c)",  syncPinState ? 'H' : 'L');
        LED_BLUE_TOGGLE();

        // If on rising pulse
        if(syncPinState == GPIO_PIN_SET) TIME_mark();
      }
      return;
    }

    default:
      DBUG("Unknown GPIO interrupt (pin: %u)", GPIO_Pin);
      return;
  }
}

void HAL_TIM_PeriodElapsedCallback(TIM_HandleTypeDef *htim)
{
  if(htim == &htim10) {
#ifdef LOG_DEST_TTY
    DBUG("TIM10 Expired");
#endif
    TIME_flush(0);
    flushLog = 1;

    // Write WAVE header
    adcSyncWrite = 1;
    wavWriteHeaderFlag = 1;

    // Run ADC conversion for ADC watchdog
    HAL_ADC_Start(&hadc1);
  }
  else {
    WARN("Unknown timer expired");
  }
}

void HAL_ADC_LevelOutOfWindowCallback (ADC_HandleTypeDef *hadc)
{
  const uint16_t v_monitor = HAL_ADC_GetValue(hadc);
  // V_ADC = 3.3v
  // Full Range (12-bit) = 4096
  // Voltage divider = 2:1
  const float    val       = (float) v_monitor * 3.3f / 4096 * 2;
  // Analog watch dog triggered
  WARN("VBAT = %.2f!", val);
}

// For fucntion `void Error_Handler(void)`
// Have to place here due to MX cube code generation
_Noreturn
/* USER CODE END 4 */

void Error_Handler(void)
{
  /* USER CODE BEGIN Error_Handler_Debug */
  /* User can add his own implementation to report the HAL error return state */
  // Try flush log to SD card
  TTY_println("HALTED!");
  LOG_flush();
  TIME_flush(1);
  // Force alternating lights
  LED_BLUE_SET_HIGH();
  LED_ORANGE_SET_LOW();
  for (;;) {
    LED_ORANGE_TOGGLE();
    LED_BLUE_TOGGLE();
    // Can't reliably use `HAL_Delay` here as this depends on systick which is
    // not updated if `Error_Handler` is called from high IRQ
    WAIT(8);
  }
  /* USER CODE END Error_Handler_Debug */
}
